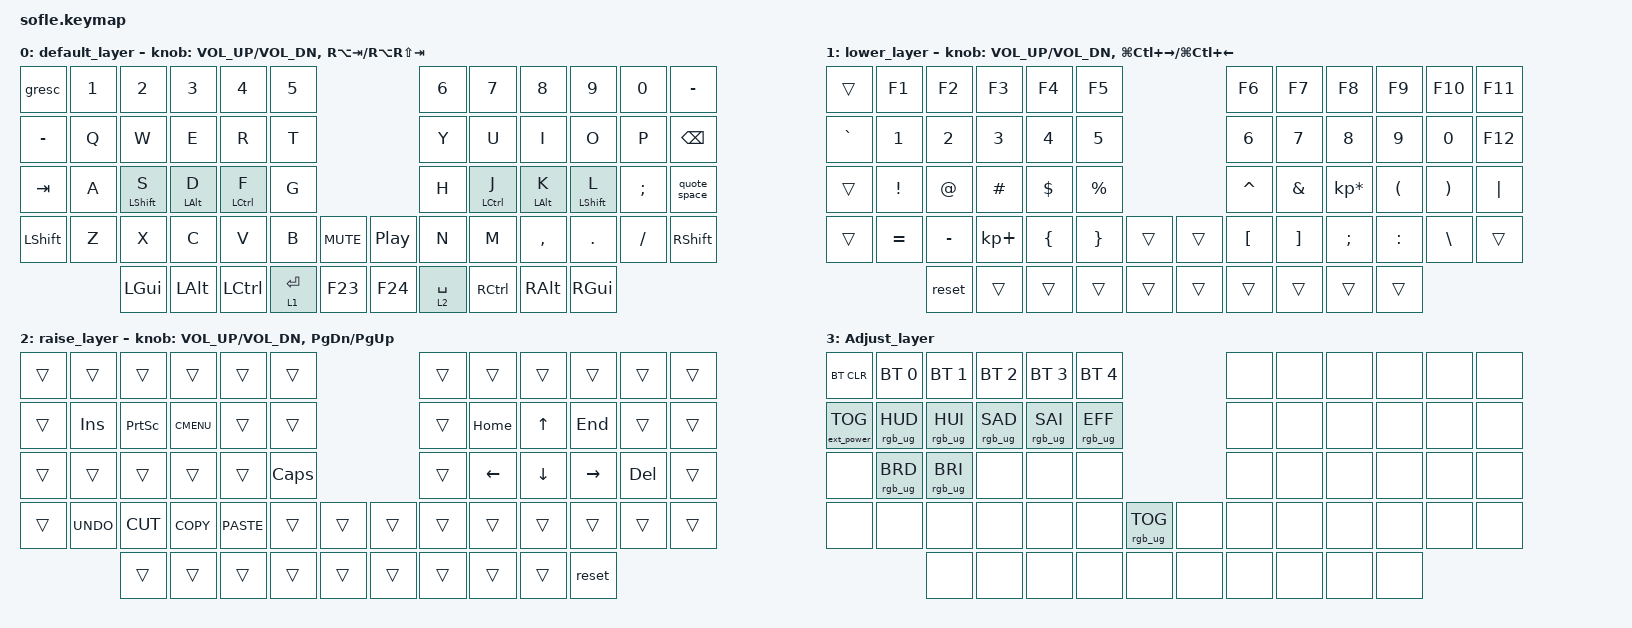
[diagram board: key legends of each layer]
/*
 * Copyright (c) 2020 The ZMK Contributors
 *
 * SPDX-License-Identifier: MIT
 */

#include <behaviors.dtsi>
#include <dt-bindings/zmk/bt.h>
#include <dt-bindings/zmk/ext_power.h>
#include <dt-bindings/zmk/keys.h>
#include <dt-bindings/zmk/rgb.h>

#define BASE 0
#define LOWER 1
#define RAISE 2
#define ADJUST 3

/ {
    // Activate ADJUST layer by pressing raise and lower

    conditional_layers {
        compatible = "zmk,conditional-layers";

        adjust_layer {
            if-layers = <LOWER RAISE>;
            then-layer = <ADJUST>;
        };
    };

    combos {
        compatible = "zmk,combos";

        ae_umlaut {
            bindings = <&kp RA(Q)>;
            key-positions = <25 26>;
            layers = <0>;
            timeout-ms = <30>;
        };

        szet {
            bindings = <&kp RA(S)>;
            key-positions = <26 27>;
            timeout-ms = <30>;
        };

        ue_umlaut {
            bindings = <&kp RA(Y)>;
            key-positions = <19 20>;
            timeout-ms = <30>;
        };

        oe_umlaut {
            bindings = <&kp RA(P)>;
            key-positions = <21 22>;
            timeout-ms = <30>;
        };

        f13 {
            bindings = <&kp F13>;
            key-positions = <13 14>;
            timeout-ms = <30>;
        };

        f14 {
            bindings = <&kp F14>;
            key-positions = <14 15>;
            timeout-ms = <30>;
        };

        f15 {
            bindings = <&kp F15>;
            key-positions = <15 16>;
            timeout-ms = <30>;
        };

        f16 {
            bindings = <&kp F16>;
            key-positions = <16 17>;
            timeout-ms = <30>;
        };
    };

    macros {
        quote_space: quote_space {
            compatible = "zmk,behavior-macro";
            label = "quote_space";
            #binding-cells = <0>;
            bindings = <&kp SINGLE_QUOTE &kp SPACE>;
        };
    };

    behaviors {
        hml: HOMEROW_MODS_LEFT {
            compatible = "zmk,behavior-hold-tap";
            label = "HOMEROW_MODS_LEFT";
            bindings = <&kp>, <&kp>;

            #binding-cells = <2>;
            tapping-term-ms = <150>;
            quick-tap-ms = <0>;
            flavor = "tap-preferred";
            retro-tap;
            hold-trigger-key-positions = <6 7 8 9 10 11 18 19 20 21 22 23 30 31 32 33 34 35 43 44 45 46 47 48 49 55 56 57 58 59>;
        };

        hmr: HOMEROW_MODS_RIGHT {
            compatible = "zmk,behavior-hold-tap";
            label = "HOMEROW_MODS_RIGHT";
            bindings = <&kp>, <&kp>;

            #binding-cells = <2>;
            tapping-term-ms = <150>;
            quick-tap-ms = <0>;
            flavor = "tap-preferred";
            retro-tap;
            hold-trigger-key-positions = <0 1 2 3 4 5 12 13 14 15 16 17 24 25 26 27 28 29 36 37 38 39 40 41 42 50 51 52 53 54>;
        };
    };

    keymap {
        compatible = "zmk,keymap";

        default_layer {
            // ------------------------------------------------------------------------------------------------------------
            // |  `    |  1  |  2  |  3   |  4   |  5   |                   |  6   |  7    |  8    |  9   |   0   |       |
            // |  ESC  |  Q  |  W  |  E   |  R   |  T   |                   |  Y   |  U    |  I    |  O   |   P   | BKSPC |
            // |  TAB  |  A  |  S  |  D   |  F   |  G   |                   |  H   |  J    |  K    |  L   |   ;   |   '   |
            // | SHIFT |  Z  |  X  |  C   |  V   |  B   |  MUTE  |  |       |  N   |  M    |  ,    |  .   |   /   | SHIFT |
            //               | GUI | ALT  | CTRL | LOWER|  ENTER |  | SPACE | RAISE| CTRL  | ALT   | GUI  |

            bindings = <
&gresc     &kp N1  &kp N2             &kp N3           &kp N4        &kp N5                                     &kp N6       &kp N7        &kp N8           &kp N9             &kp N0    &kp MINUS
&kp MINUS  &kp Q   &kp W              &kp E            &kp R         &kp T                                      &kp Y        &kp U         &kp I            &kp O              &kp P     &kp BSPC
&kp TAB    &kp A   &hml LEFT_SHIFT S  &hml LEFT_ALT D  &hml LCTRL F  &kp G                                      &kp H        &hmr LCTRL J  &hmr LEFT_ALT K  &hmr LEFT_SHIFT L  &kp SEMI  &quote_space
&kp LSHFT  &kp Z   &kp X              &kp C            &kp V         &kp B        &kp C_MUTE  &kp C_PLAY_PAUSE  &kp N        &kp M         &kp COMMA        &kp DOT            &kp FSLH  &kp RSHFT
                   &kp LGUI           &kp LALT         &kp LCTRL     &lt 1 ENTER  &kp F23     &kp F24           &lt 2 SPACE  &kp RCTRL     &kp RALT         &kp RGUI
            >;

            sensor-bindings = <&inc_dec_kp C_VOL_UP C_VOL_DN &inc_dec_kp RA(TAB) RA(RS(TAB))>;
        };

        lower_layer {
            // TODO: Some binds are waiting for shifted keycode support.
            // ------------------------------------------------------------------------------------------------------------
            // |       |  F1 |  F2 |  F3  |  F4  |  F5  |                   |  F6  |  F7   |  F8   |  F9  |  F10  |  F11  |
            // | `     |   1 |   2 |   3  |   4  |   5  |                   |   6  |   7   |   8   |   9  |    0  |  F12  |
            // |       |  !  |  @  |  #   |  $   |  %   |                   |  ^   |  &    |  *    |  (   |   )   |   |   |
            // |       |  =  |  -  |  +   |  {   |  }   |        |  |       |  [   |  ]    |  ;    |  :   |   \   |       |
            //               |     |      |      |      |        |  |       |      |       |       |      |

            bindings = <
&trans     &kp F1     &kp F2     &kp F3       &kp F4    &kp F5                     &kp F6     &kp F7    &kp F8           &kp F9     &kp F10   &kp F11
&kp GRAVE  &kp N1     &kp N2     &kp N3       &kp N4    &kp N5                     &kp N6     &kp N7    &kp N8           &kp N9     &kp N0    &kp F12
&trans     &kp EXCL   &kp AT     &kp HASH     &kp DLLR  &kp PRCNT                  &kp CARET  &kp AMPS  &kp KP_MULTIPLY  &kp LPAR   &kp RPAR  &kp PIPE
&trans     &kp EQUAL  &kp MINUS  &kp KP_PLUS  &kp LBRC  &kp RBRC   &trans  &trans  &kp LBKT   &kp RBKT  &kp SEMI         &kp COLON  &kp BSLH  &trans
                      &reset     &trans       &trans    &trans     &trans  &trans  &trans     &trans    &trans           &trans
            >;

            sensor-bindings = <&inc_dec_kp C_VOL_UP C_VOL_DN &inc_dec_kp LG(LC(RIGHT)) LG(LC(LEFT))>;
        };

        raise_layer {
            // ------------------------------------------------------------------------------------------------------------
            // |BTCLR| BT1  | BT2  |  BT3  |  BT4  |  BT5 |                |      |      |       |      |       |       |
            // |     | INS  | PSCR | GUI   |       |      |                | PGUP |      |   ^   |      |       |       |
            // |     | ALT  | CTRL | SHIFT |       | CAPS |                | PGDN |   <- |   v   |  ->  |  DEL  | BKSPC |
            // |     | UNDO | CUT  | COPY  | PASTE |      |      |  |      |      |      |       |      |       |       |
            //              |      |       |       |      |      |  |      |      |      |       |      |

            bindings = <
&trans  &trans      &trans     &trans       &trans       &trans                    &trans  &trans    &trans    &trans     &trans   &trans
&trans  &kp INS     &kp PSCRN  &kp K_CMENU  &trans       &trans                    &trans  &kp HOME  &kp UP    &kp END    &trans   &trans
&trans  &trans      &trans     &trans       &trans       &kp CLCK                  &trans  &kp LEFT  &kp DOWN  &kp RIGHT  &kp DEL  &trans
&trans  &kp K_UNDO  &kp K_CUT  &kp K_COPY   &kp K_PASTE  &trans    &trans  &trans  &trans  &trans    &trans    &trans     &trans   &trans
                    &trans     &trans       &trans       &trans    &trans  &trans  &trans  &trans    &trans    &reset
            >;

            sensor-bindings = <&inc_dec_kp C_VOL_UP C_VOL_DN &inc_dec_kp PAGE_DOWN PAGE_UP>;
        };

        // ------------------------------------------------------------------------------------------------------------
        // |BTCLR | BT1   | BT2   |  BT3  |  BT4  |  BT5  |                |      |      |       |      |       |       |
        // |      |RGB_HUD|RGB_HUI|RGB_SAD|RGB_SAI|RGB_EFF|                |      |      |       |      |       |       |
        // |      |RGB_BRD|RGB_BRI|       |       |       |                |      |      |       |      |       |       |
        // |      |       |       |       |       |       |RGB_TOG| |      |      |      |       |      |       |       |
        //                |       |       |       |       |       | |      |      |      |       |      |

        Adjust_layer {
            bindings = <
&bt BT_CLR         &bt BT_SEL 0     &bt BT_SEL 1     &bt BT_SEL 2     &bt BT_SEL 3     &bt BT_SEL 4                             &none  &none  &none  &none  &none  &none
&ext_power EP_TOG  &rgb_ug RGB_HUD  &rgb_ug RGB_HUI  &rgb_ug RGB_SAD  &rgb_ug RGB_SAI  &rgb_ug RGB_EFF                          &none  &none  &none  &none  &none  &none
&none              &rgb_ug RGB_BRD  &rgb_ug RGB_BRI  &none            &none            &none                                    &none  &none  &none  &none  &none  &none
&none              &none            &none            &none            &none            &none            &rgb_ug RGB_TOG  &none  &none  &none  &none  &none  &none  &none
                                    &none            &none            &none            &none            &none            &none  &none  &none  &none  &none
            >;
        };
    };
};
